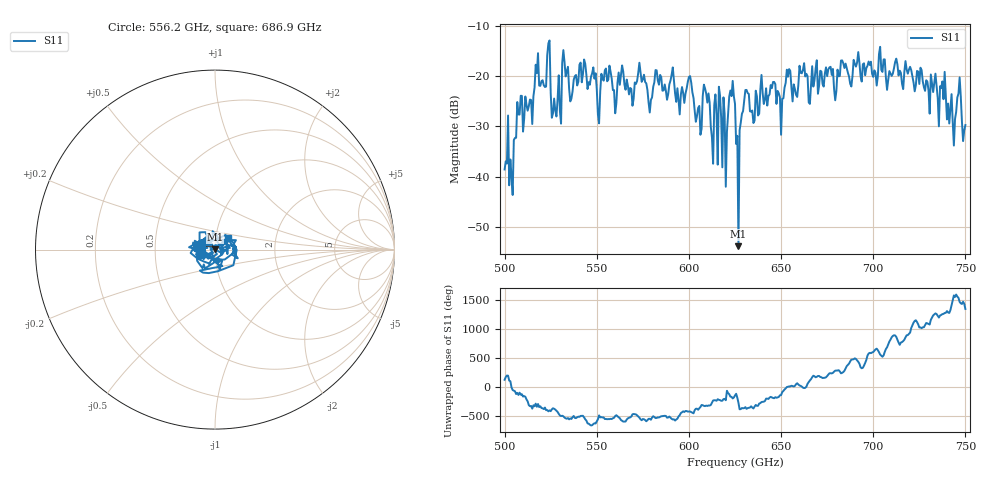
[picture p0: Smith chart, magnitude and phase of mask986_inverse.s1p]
!Created with skrf (http://scikit-rf.org).
# GHz S MA R 50.0
!freq magS11 angS11
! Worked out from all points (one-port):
!   401 points, 500 GHz to 750 GHz, reference 50 ohm
!   lowest |S11| = -53.9 dB at 626.9 GHz (marker M1), VSWR 1.00, Z = 50 + j0.201 ohm
!   |S11| at or under -10 dB: start of sweep to end of sweep
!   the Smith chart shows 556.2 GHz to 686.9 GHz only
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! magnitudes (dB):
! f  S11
! 500 GHz  -38.6
! 503.8 GHz  -39.9
! 508.1 GHz  -27.6
! 513.8 GHz  -24.6
! 517.5 GHz  -19.3
! 523.8 GHz  -13.4
! 526.9 GHz  -24.4
! 531.2 GHz  -17.3
! 562.5 GHz  -21.7
! 593.8 GHz  -22.4
! 600.6 GHz  -19.9
! 605.6 GHz  -25.9
! 609.4 GHz  -23.4
! 611.9 GHz  -30.1
! 617.5 GHz  -28.3
! 619.4 GHz  -27.5
! 623.1 GHz  -23.9
! 625 GHz  -25.5
! 626.9 GHz  -53.9
! 631.2 GHz  -22.7
! 634.4 GHz  -26.8
! 656.2 GHz  -25.0
! 687.5 GHz  -21.5
! 718.8 GHz  -19.4
! 737.5 GHz  -21.0
! 742.5 GHz  -23.5
! 746.2 GHz  -23.4
! 750 GHz  -29.7
